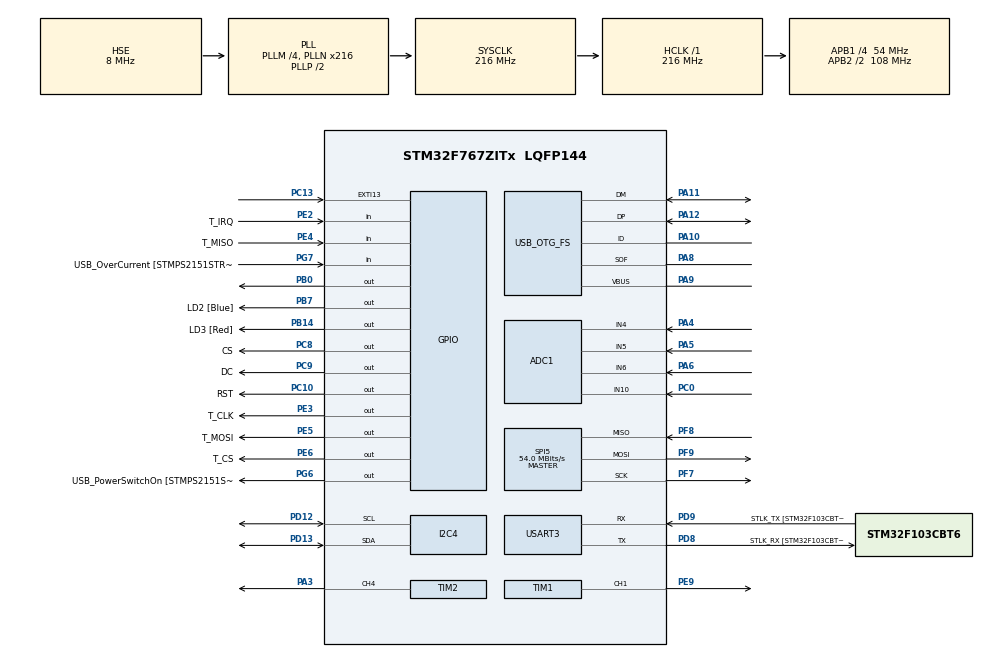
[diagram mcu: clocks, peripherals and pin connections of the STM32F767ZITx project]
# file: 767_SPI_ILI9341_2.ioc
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ADC1.Channel-0\#ChannelRegularConversion=ADC_CHANNEL_4
ADC1.Channel-1\#ChannelRegularConversion=ADC_CHANNEL_5
ADC1.Channel-2\#ChannelRegularConversion=ADC_CHANNEL_6
ADC1.Channel-3\#ChannelRegularConversion=ADC_CHANNEL_10
ADC1.ClockPrescaler=ADC_CLOCK_SYNC_PCLK_DIV8
ADC1.ContinuousConvMode=ENABLE
ADC1.DMAContinuousRequests=ENABLE
ADC1.EOCSelection=ADC_EOC_SEQ_CONV
ADC1.NbrOfConversion=4
ADC1.NbrOfConversionFlag=1
ADC1.Rank-0\#ChannelRegularConversion=1
ADC1.Rank-1\#ChannelRegularConversion=2
ADC1.Rank-2\#ChannelRegularConversion=3
ADC1.Rank-3\#ChannelRegularConversion=4
ADC1.SamplingTime-0\#ChannelRegularConversion=ADC_SAMPLETIME_15CYCLES
ADC1.SamplingTime-1\#ChannelRegularConversion=ADC_SAMPLETIME_15CYCLES
ADC1.SamplingTime-2\#ChannelRegularConversion=ADC_SAMPLETIME_15CYCLES
ADC1.SamplingTime-3\#ChannelRegularConversion=ADC_SAMPLETIME_15CYCLES
ADC1.master=1
CORTEX_M7.ART_ACCLERATOR_ENABLE=1
CORTEX_M7.CPU_DCache=Enabled
CORTEX_M7.CPU_ICache=Enabled
CORTEX_M7.PREFETCH_ENABLE=1
Dma.ADC1.1.Direction=DMA_PERIPH_TO_MEMORY
Dma.ADC1.1.FIFOMode=DMA_FIFOMODE_DISABLE
Dma.ADC1.1.Instance=DMA2_Stream0
Dma.ADC1.1.MemDataAlignment=DMA_MDATAALIGN_WORD
Dma.ADC1.1.MemInc=DMA_MINC_ENABLE
Dma.ADC1.1.Mode=DMA_CIRCULAR
Dma.ADC1.1.PeriphDataAlignment=DMA_PDATAALIGN_WORD
Dma.ADC1.1.PeriphInc=DMA_PINC_DISABLE
Dma.ADC1.1.Priority=DMA_PRIORITY_LOW
Dma.Request0=TIM1_CH1
Dma.Request1=ADC1
Dma.TIM1_CH1.0.Direction=DMA_MEMORY_TO_PERIPH
Dma.TIM1_CH1.0.FIFOMode=DMA_FIFOMODE_DISABLE
Dma.TIM1_CH1.0.Instance=DMA2_Stream1
Dma.TIM1_CH1.0.MemDataAlignment=DMA_MDATAALIGN_HALFWORD
Dma.TIM1_CH1.0.MemInc=DMA_MINC_ENABLE
Dma.TIM1_CH1.0.Mode=DMA_NORMAL
Dma.TIM1_CH1.0.PeriphDataAlignment=DMA_PDATAALIGN_HALFWORD
Dma.TIM1_CH1.0.PeriphInc=DMA_PINC_DISABLE
Dma.TIM1_CH1.0.Priority=DMA_PRIORITY_LOW
I2C4.Timing=0x20404768
Mcu.Family=STM32F7
Mcu.Name=STM32F767ZITx
Mcu.Package=LQFP144
NVIC.DMA2_Stream0_IRQn=true\:0\:0\:false\:false\:true\:false\:true\:true
NVIC.DMA2_Stream1_IRQn=true\:0\:0\:false\:false\:true\:false\:true\:true
NVIC.PriorityGroup=NVIC_PRIORITYGROUP_2
NVIC.TIM1_UP_TIM10_IRQn=true\:1\:0\:true\:false\:true\:true\:true\:true
NVIC.TIM4_IRQn=true\:1\:0\:true\:false\:true\:true\:true\:true
PA1.GPIO_Label=RMII_REF_CLK [LAN8742A-CZ-TR_REFCLK0]
PA1.Signal=ETH_REF_CLK
PA10.Mode=OTG/Dual_Role_Device
PA10.Signal=USB_OTG_FS_ID
PA11.Mode=OTG/Dual_Role_Device
PA11.Signal=USB_OTG_FS_DM
PA12.Mode=OTG/Dual_Role_Device
PA12.Signal=USB_OTG_FS_DP
PA13.GPIO_Label=TMS
PA13.Mode=Serial_Wire
PA13.Signal=SYS_JTMS-SWDIO
PA14.GPIO_Label=TCK
PA14.Mode=Serial_Wire
PA14.Signal=SYS_JTCK-SWCLK
PA2.GPIO_Label=RMII_MDIO [LAN8742A-CZ-TR_MDIO]
PA2.Signal=ETH_MDIO
PA3.GPIO_Speed=GPIO_SPEED_FREQ_VERY_HIGH
PA3.Signal=S_TIM2_CH4
PA4.Signal=ADCx_IN4
PA5.Signal=ADCx_IN5
PA6.Signal=ADCx_IN6
PA7.GPIO_Label=RMII_CRS_DV [LAN8742A-CZ-TR_CRS_DV]
PA7.Signal=ETH_CRS_DV
PA8.Mode=Activate_SOF_FS
PA8.Signal=USB_OTG_FS_SOF
PA9.Mode=Activate_VBUS
PA9.Signal=USB_OTG_FS_VBUS
PB0.Signal=GPIO_Output
PB13.GPIO_Label=RMII_TXD1 [LAN8742A-CZ-TR_TXD1]
PB13.Signal=ETH_TXD1
PB14.GPIO_Label=LD3 [Red]
PB14.Signal=GPIO_Output
PB3.GPIO_Label=SWO
PB3.Signal=SYS_JTDO-SWO
PB7.GPIO_Label=LD2 [Blue]
PB7.Signal=GPIO_Output
PC0.Signal=ADCx_IN10
PC1.GPIO_Label=RMII_MDC [LAN8742A-CZ-TR_MDC]
PC1.Signal=ETH_MDC
PC10.GPIO_Label=RST
PC10.GPIO_Speed=GPIO_SPEED_FREQ_VERY_HIGH
PC10.Signal=GPIO_Output
PC13.Signal=GPXTI13
PC14/OSC32_IN.Mode=LSE-External-Oscillator
PC14/OSC32_IN.Signal=RCC_OSC32_IN
PC15/OSC32_OUT.Mode=LSE-External-Oscillator
PC15/OSC32_OUT.Signal=RCC_OSC32_OUT
PC4.GPIO_Label=RMII_RXD0 [LAN8742A-CZ-TR_RXD0]
PC4.Signal=ETH_RXD0
PC5.GPIO_Label=RMII_RXD1 [LAN8742A-CZ-TR_RXD1]
PC5.Signal=ETH_RXD1
PC8.GPIO_Label=CS
PC8.GPIO_Speed=GPIO_SPEED_FREQ_VERY_HIGH
PC8.Signal=GPIO_Output
PC9.GPIO_Label=DC
PC9.GPIO_Speed=GPIO_SPEED_FREQ_VERY_HIGH
PC9.Signal=GPIO_Output
PD12.Mode=I2C
PD12.Signal=I2C4_SCL
PD13.Mode=I2C
PD13.Signal=I2C4_SDA
PD8.GPIO_Label=STLK_RX [STM32F103CBT6_PA3]
PD8.Mode=Asynchronous
PD8.Signal=USART3_TX
PD9.GPIO_Label=STLK_TX [STM32F103CBT6_PA2]
PD9.Mode=Asynchronous
PD9.Signal=USART3_RX
PE2.GPIO_Label=T_IRQ
PE2.Signal=GPIO_Input
PE3.GPIO_Label=T_CLK
PE3.GPIO_Speed=GPIO_SPEED_FREQ_VERY_HIGH
PE3.Signal=GPIO_Output
PE4.GPIO_Label=T_MISO
PE4.Signal=GPIO_Input
PE5.GPIO_Label=T_MOSI
PE5.GPIO_Speed=GPIO_SPEED_FREQ_VERY_HIGH
PE5.Signal=GPIO_Output
PE6.GPIO_Label=T_CS
PE6.GPIO_Speed=GPIO_SPEED_FREQ_VERY_HIGH
PE6.Signal=GPIO_Output
PE9.Signal=S_TIM1_CH1
PF7.Mode=Full_Duplex_Master
PF7.Signal=SPI5_SCK
PF8.Mode=Full_Duplex_Master
PF8.Signal=SPI5_MISO
PF9.Mode=Full_Duplex_Master
PF9.Signal=SPI5_MOSI
PG11.GPIO_Label=RMII_TX_EN [LAN8742A-CZ-TR_TXEN]
PG11.Signal=ETH_TX_EN
PG13.GPIO_Label=RMII_TXD0 [LAN8742A-CZ-TR_TXD0]
PG13.Signal=ETH_TXD0
PG6.GPIO_Label=USB_PowerSwitchOn [STMPS2151STR_EN]
PG6.Signal=GPIO_Output
PG7.GPIO_Label=USB_OverCurrent [STMPS2151STR_FAULT]
PG7.Signal=GPIO_Input
PH0/OSC_IN.GPIO_Label=MCO [STM32F103CBT6_PA8]
PH0/OSC_IN.Mode=HSE-External-Clock-Source
PH0/OSC_IN.Signal=RCC_OSC_IN
PH1/OSC_OUT.Mode=HSE-External-Clock-Source
PH1/OSC_OUT.Signal=RCC_OSC_OUT
ProjectManager.HeapSize=0x200
ProjectManager.StackSize=0x400
ProjectManager.TargetToolchain=STM32CubeIDE
RCC.48MHZClocksFreq_Value=24000000
RCC.AHBFreq_Value=216000000
RCC.APB1CLKDivider=RCC_HCLK_DIV4
RCC.APB1Freq_Value=54000000
RCC.APB1TimFreq_Value=108000000
RCC.APB2CLKDivider=RCC_HCLK_DIV2
RCC.APB2Freq_Value=108000000
RCC.APB2TimFreq_Value=216000000
RCC.CortexFreq_Value=216000000
RCC.HCLKFreq_Value=216000000
RCC.HSE_VALUE=8000000
RCC.HSI_VALUE=16000000
RCC.PLLM=4
RCC.PLLMUL=RCC_PLL_MUL9
RCC.PLLN=216
RCC.PLLQ=9
RCC.PRESCALERUSB=RCC_USBCLKSOURCE_PLL_DIV1_5
RCC.SYSCLKFreq_VALUE=216000000
RCC.SYSCLKSource=RCC_SYSCLKSOURCE_PLLCLK
RCC.SYSCLKSourceVirtual=RCC_SYSCLKSOURCE_PLLCLK
RCC.USBFreq_Value=48000000
RCC.VCOOutputFreq_Value=432000000
SH.ADCx_IN10.0=ADC1_IN10,IN10
SH.ADCx_IN4.0=ADC1_IN4,IN4
SH.ADCx_IN5.0=ADC1_IN5,IN5
SH.ADCx_IN6.0=ADC1_IN6,IN6
SH.S_TIM1_CH1.0=TIM1_CH1,PWM Generation1 CH1
SH.S_TIM2_CH4.0=TIM2_CH4,PWM Generation4 CH4
SPI5.CalculateBaudRate=54.0 MBits/s
SPI5.DataSize=SPI_DATASIZE_8BIT
SPI5.Direction=SPI_DIRECTION_2LINES
SPI5.Mode=SPI_MODE_MASTER
SPI5.NSSPMode=SPI_NSS_PULSE_DISABLE
SPI5.VirtualType=VM_MASTER
TIM1.Channel-PWM\ Generation1\ CH1=TIM_CHANNEL_1
TIM1.Period=216-1
TIM1.Prescaler=2-1
TIM2.Channel-PWM\ Generation4\ CH4=TIM_CHANNEL_4
TIM2.ClockDivision=TIM_CLOCKDIVISION_DIV1
TIM2.Period=1000-1
TIM2.Prescaler=108-1
TIM2.Pulse-PWM\ Generation4\ CH4=1000/4-1
TIM4.Period=1000-1
TIM4.Prescaler=108-1
USART3.VirtualMode-Asynchronous=VM_ASYNC
VP_RNG_VS_RNG.Mode=RNG_Activate
VP_TIM1_VS_ClockSourceINT.Mode=Internal
VP_TIM2_VS_ClockSourceINT.Mode=Internal
VP_TIM4_VS_ClockSourceINT.Mode=Internal
board=NUCLEO-F767ZI

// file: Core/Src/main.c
/* USER CODE BEGIN Header */
/**
 ******************************************************************************
 * @file           : main.c
 * @brief          : Main program body
 ******************************************************************************
 * @attention
 *
 * <h2><center>&copy; Copyright (c) 2021 STMicroelectronics.
 * All rights reserved.</center></h2>
 *
 * This software component is licensed by ST under BSD 3-Clause license,
 * the "License"; You may not use this file except in compliance with the
 * License. You may obtain a copy of the License at:
 *                        opensource.org/licenses/BSD-3-Clause
 *
 ******************************************************************************
 */
/* USER CODE END Header */
#include "main.h"
#include "adc.h"
#include "dma.h"
#include "i2c.h"
#include "rng.h"
#include "spi.h"
#include "tim.h"
#include "usart.h"
#include "usb_otg.h"
#include "gpio.h"

/* USER CODE BEGIN Includes */
#include "stdio.h"
#include "string.h"
#include "stm32f7xx_hal.h"
#include "am2320.h"
#include "ILI9341_Touchscreen.h"
#include "ILI9341_STM32_Driver.h"
#include "ILI9341_GFX.h"

#include <math.h>
#include <stdarg.h>
//#include "snow_tiger.h"

#include <toey_resize.h>

/* USER CODE END Includes */

/* USER CODE BEGIN PM */
#define print(x) HAL_UART_Transmit(&huart3, (uint8_t*)x, strlen(x),1000)
/* USER CODE END PM */

/* USER CODE BEGIN PV */
/* Private variables ---------------------------------------------------------*/
char ex[] = "\n\rBack";
char ex2[] = "\n\rEnter";
char ex3[] = "\n\rUp";
char ex4[] = "\n\rDown";
char ex5[] = "\n\rLeft";
char ex6[] = "\n\rRight";
int a = 0;
char x[100];
char ch1[1000];

// RGB variable
uint32_t count = 0;
int isLED[4];
int interval[4];

// rgb
int ispressed[8];
int intervalPreesed[8];

// Drum
volatile uint32_t adc_val[4];

uint32_t adc_hit[4];
uint32_t adcIntervalMillis[4];
uint32_t adcIntervalPrevios[4];

HAL_StatusTypeDef status;

UART_HandleTypeDef huart2;
/* USER CODE END PV */

void SystemClock_Config(void);
/* USER CODE BEGIN PFP */
/* Private function prototypes -----------------------------------------------*/
uint16_t CRC16_2(uint8_t*, uint8_t);
/* USER CODE END PFP */

/* USER CODE BEGIN 0 */
#define MAX_LED 35
#define USE_BRIGHTNESS 1

uint8_t datasentflag = 0;
uint8_t LED_Data[MAX_LED][4];
uint8_t LED_Mod[MAX_LED][4];

void Set_LED(int LEDnum, int Red, int Green, int Blue) {
	LED_Data[LEDnum][0] = LEDnum;
	LED_Data[LEDnum][1] = Green;
	LED_Data[LEDnum][2] = Red;
	LED_Data[LEDnum][3] = Blue;
}

#define PI 3.14159265

void Set_Brightness(int brightness)  // 0-45
{
#if USE_BRIGHTNESS

	if (brightness > 45)
		brightness = 45;
	for (int i = 0; i < MAX_LED; i++) {
		LED_Mod[i][0] = LED_Data[i][0];
		for (int j = 1; j < 4; j++) {
			float angle = 90 - brightness;  // in degrees
			angle = angle * PI / 180;  // in rad
			LED_Mod[i][j] = (LED_Data[i][j]) / (tan(angle));
		}
	}

#endif

}

uint16_t pwmData[(24 * MAX_LED) + 50];

void WS2812_Send(void) {
	uint32_t indx = 0;
	uint32_t color;

	for (int i = 0; i < MAX_LED; i++) {
#if USE_BRIGHTNESS
		color =
				((LED_Mod[i][1] << 16) | (LED_Mod[i][2] << 8) | (LED_Mod[i][3]));
#else
		color = ((LED_Data[i][1]<<16) | (LED_Data[i][2]<<8) | (LED_Data[i][3]));
#endif

		for (int i = 23; i >= 0; i--) {
			if (color & (1 << i)) {
				pwmData[indx] = 60;  // 2/3 of 90
			}

			else
				pwmData[indx] = 30;  // 1/3 of 90

			indx++;
		}

	}

	for (int i = 0; i < 50; i++) {
		pwmData[indx] = 0;
		indx++;
	}

	HAL_TIM_PWM_Start_DMA(&htim1, TIM_CHANNEL_1, (uint32_t*) pwmData, indx);
	while (!datasentflag) {
	};
	datasentflag = 0;
}
void HAL_TIM_PWM_PulseFinishedCallback(TIM_HandleTypeDef *htim) {
	HAL_TIM_PWM_Stop_DMA(&htim1, TIM_CHANNEL_1);
	datasentflag = 1;
}
/* USER CODE END 0 */

int main(void) {

	/* Enable I-Cache---------------------------------------------------------*/
	SCB_EnableICache();

	/* Enable D-Cache---------------------------------------------------------*/
	SCB_EnableDCache();

	/* MCU Configuration--------------------------------------------------------*/

	/* Reset of all peripherals, Initializes the Flash interface and the Systick. */
	HAL_Init();

	/* Configure the system clock */
	SystemClock_Config();

	/* Initialize all configured peripherals */
	MX_GPIO_Init();
	MX_DMA_Init();
	MX_SPI5_Init();
	MX_RNG_Init();
	MX_TIM2_Init();
	MX_I2C4_Init();
	MX_ADC1_Init();
	MX_TIM1_Init();
	MX_USART3_UART_Init();
	MX_TIM4_Init();
	MX_USB_OTG_FS_USB_Init();
	/* USER CODE BEGIN 2 */
	ILI9341_Init(); //initial driver setup to drive ili9341
	ILI9341_Set_Rotation(SCREEN_HORIZONTAL_1);
	ILI9341_Draw_Image((const char*) image_data_tot, SCREEN_VERTICAL_1);
	HAL_TIM_Base_Start_IT(&htim4);
	HAL_ADC_Start_DMA(&hadc1, (uint32_t*) adc_val, 4);

	/* USER CODE END 2 */

	/* Infinite loop */
	while (1) {

		/* USER CODE BEGIN 3 */

		// Part 1 RGB
		if (count >= 100) {
			if (isLED[0]) {
				interval[0]++;
			}
			if (isLED[1]) {
				interval[1]++;
			}
			if (isLED[2]) {
				interval[2]++;
			}
			if (isLED[3]) {
				interval[3]++;
			}
			count = 0;
		}

		//hit Upper Left

		if (adc_hit[0]) {
			isLED[0] = 1;
			for (int i = 0; i < 35; i++)
				Set_LED(i, 0, 0, 200);
			Set_Brightness(20);
			WS2812_Send();
		}

		if ((isLED[0] = 1) && (interval[0] >= 3)) {
			Set_Brightness(0);
			WS2812_Send();
			isLED[0] = 0;
			interval[0] = 0;
		}
		// hit center left
		if (adc_hit[1]) {
			isLED[1] = 1;
			for (int i = 0; i < 35; i++)
				Set_LED(i, 255, 0, 0);
			Set_Brightness(20);
			WS2812_Send();
		}

		if ((isLED[1] = 1) && (interval[1] >= 3)) {
			Set_Brightness(0);
			WS2812_Send();
			isLED[1] = 0;
			interval[1] = 0;
		}

		//hit center right
		if (adc_hit[2]) {
			isLED[2] = 1;
			for (int i = 0; i < 35; i++)
				Set_LED(i, 255, 0, 0);
			Set_Brightness(20);
			WS2812_Send();
		}

		if ((isLED[2] = 1) && (interval[2] >= 3)) {
			Set_Brightness(0);
			WS2812_Send();
			isLED[2] = 0;
			interval[2] = 0;
		}

		// Hit Upper right
		if (adc_hit[3]) {
			isLED[3] = 1;
			for (int i = 0; i < 35; i++)
				Set_LED(i, 0, 0, 200);
			Set_Brightness(20);
			WS2812_Send();
		}

		if ((isLED[3] = 1) && (interval[3] >= 3)) {
			Set_Brightness(0);
			WS2812_Send();
			isLED[3] = 0;
			interval[3] = 0;
		}

		// Part 2 Drum
//		char buffer[100];
//		sprintf(buffer, "%d %d %d %d\n\r", adc_val[0], adc_val[1], adc_val[2],
//				adc_val[3]);
//		print(buffer);

		adcIntervalMillis[0] = HAL_GetTick();
		adcIntervalMillis[1] = HAL_GetTick();
		adcIntervalMillis[2] = HAL_GetTick();
		adcIntervalMillis[3] = HAL_GetTick();
		if (adc_val[0] >= 2800 && adc_hit[0] == 0) {
			adc_hit[0] = 1;

		}
		else if (adc_val[1] >= 1000 && adc_hit[1] == 0) {
			adc_hit[1] = 1;

		}
		else if (adc_val[2] >= 2000 && adc_hit[2] == 0) {
			adc_hit[2] = 1;

		}
		else if (adc_val[3] >= 2000 && adc_hit[3] == 0) {
			adc_hit[3] = 1;

		}

		if (adc_hit[0] == 1
				&& (adcIntervalMillis[0] - adcIntervalPrevios[0] > ((40)+(a*1000)))) {
			print("D");
			adc_hit[0] = 0;
			adcIntervalPrevios[0] = adcIntervalMillis[0];
		}

		if (adc_hit[1] == 1
				&& (adcIntervalMillis[1] - adcIntervalPrevios[1] > ((40)+(a*1000)))) {
			print("F");
			adc_hit[1] = 0;
			adcIntervalPrevios[1] = adcIntervalMillis[1];
		}

		if (adc_hit[2] == 1
				&& (adcIntervalMillis[2] - adcIntervalPrevios[2] > ((40)+(a*1000)))) {
			print("J");
			adc_hit[2] = 0;
			adcIntervalPrevios[2] = adcIntervalMillis[2];
		}

		if (adc_hit[3] == 1
				&& (adcIntervalMillis[3] - adcIntervalPrevios[3] > ((40)+(a*1000)))) {
			print("K");
			adc_hit[3] = 0;
			adcIntervalPrevios[3] = adcIntervalMillis[3];
		}

		// Part3 LCD
		ILI9341_Set_Rotation(SCREEN_HORIZONTAL_1);
		sprintf(x, "%2d", a);
		ILI9341_Draw_Text(x, 145, 11, BLACK, 2, WHITE);
		//		HAL_Delay(1000);

		if (TP_Touchpad_Pressed()) {
			uint16_t position_array[2];
			uint16_t x_pos = 0;
			uint16_t y_pos = 0;

			if (TP_Read_Coordinates(position_array) == TOUCHPAD_DATA_OK) {
				x_pos = position_array[0];
				y_pos = position_array[1];
				if ((x_pos >= 177 && x_pos <= 210)
						&& (y_pos >= 8 && y_pos <= 98)) //check back
						{
					ispressed[6] = 1;
				} else if ((x_pos >= 180 && x_pos <= 210)
						&& (y_pos >= 228 && y_pos <= 316)) //check enter
						{
					ispressed[7] = 1;
				}

				else if ((x_pos >= 206 && x_pos <= 240)
						&& (y_pos >= 105 && y_pos <= 138)) //dpi-
						{
					ispressed[0] = 1;
				}

				else if ((x_pos >= 208 && x_pos <= 236)
						&& (y_pos >= 182 && y_pos <= 215)) //dpi+
						{
					ispressed[1] = 1;

				}

				else if ((x_pos >= 135 && x_pos <= 196)
						&& (y_pos >= 129 && y_pos <= 189)) //check up
						{
					ispressed[2] = 1;
				}

				else if ((x_pos >= 8 && x_pos <= 71)
						&& (y_pos >= 128 && y_pos <= 191)) //check down
						{
					ispressed[3] = 1;
				}

				else if ((x_pos >= 74 && x_pos <= 136)
						&& (y_pos >= 59 && y_pos <= 120)) //check left
						{
					ispressed[4] = 1;
				}

				else if ((x_pos >= 76 && x_pos <= 135)
						&& (y_pos >= 205 && y_pos <= 265)) //check right
						{
					ispressed[5] = 1;
				}
//					ILI9341_Set_Rotation(SCREEN_HORIZONTAL_1);
//					char counter_buff[30];
//					sprintf(counter_buff, "POS X: %.3d  ", x_pos);
//					ILI9341_Draw_Text(counter_buff, 100, 220, BLACK, 1, WHITE);
//					sprintf(counter_buff, "POS Y: %.3d", y_pos);
//					ILI9341_Draw_Text(counter_buff, 160, 220, BLACK, 1, WHITE);
			}
		}

		//timer!!!
		//check back
		if (ispressed[6]) {
			intervalPreesed[6] += count;
			count = 0;
		}

		if (intervalPreesed[6] >= 500) {
			while (__HAL_UART_GET_FLAG(&huart3,UART_FLAG_TC) == RESET) {
			}
//			HAL_UART_Transmit(&huart3, (uint8_t*) ex, strlen(ex), 1000);
			print("B");
			intervalPreesed[6] = 0;
			ispressed[6] = 0;
		}
		//check enter
		if (ispressed[7]) {
			intervalPreesed[7] += count;
			count = 0;
		}

		if (intervalPreesed[7] >= 500) {
			while (__HAL_UART_GET_FLAG(&huart3,UART_FLAG_TC) == RESET) {
			}
//			HAL_UART_Transmit(&huart3, (uint8_t*) ex2, strlen(ex2), 1000);
			print("E");
			intervalPreesed[7] = 0;
			ispressed[7] = 0;
		}

		//dpi-
		if (ispressed[0]) {
			intervalPreesed[0] += count;
			count = 0;
		}
		if (intervalPreesed[0] >= 500) {
			if (a >= 1) {
				a = a - 1;
				sprintf(x, "%2d ", a);
			}
			if (a <= 0) {
				a = 0;
				sprintf(x, "%2d ", a);
			}
			intervalPreesed[0] = 0;
			ispressed[0] = 0;
		}
		//dpi+
		if (ispressed[1]) {
			intervalPreesed[1] += count;
			count = 0;
		}

		if (intervalPreesed[1] >= 500) {
			if (a < 10) {
				a = a + 1;
				sprintf(x, "%2d ", a);
			}
			if (a > 10) {
				a = 10;
				sprintf(x, "%2d ", a);
			}
			intervalPreesed[1] = 0;
			ispressed[1] = 0;
		}
		//check up
		if (ispressed[2]) {
			intervalPreesed[2] += count;
			count = 0;
		}

		if (intervalPreesed[2] >= 500) {
			while (__HAL_UART_GET_FLAG(&huart3,UART_FLAG_TC) == RESET) {
			}
//			HAL_UART_Transmit(&huart3, (uint8_t*) ex3, strlen(ex3), 1000);
			print("U");
			intervalPreesed[2] = 0;
			ispressed[2] = 0;
		}

		////check down
		if (ispressed[3]) {
			intervalPreesed[3] += count;
			count = 0;
		}

		if (intervalPreesed[3] >= 500) {
			while (__HAL_UART_GET_FLAG(&huart3,UART_FLAG_TC) == RESET) {
			}
//			HAL_UART_Transmit(&huart3, (uint8_t*) ex4, strlen(ex4), 1000);
			print("O");
			intervalPreesed[3] = 0;
			ispressed[3] = 0;
		}
		//check left
		if (ispressed[4]) {
			intervalPreesed[4] += count;
			count = 0;
		}

		if (intervalPreesed[4] >= 500) {
			while (__HAL_UART_GET_FLAG(&huart3,UART_FLAG_TC) == RESET) {
			}
//			HAL_UART_Transmit(&huart3, (uint8_t*) ex5, strlen(ex5), 1000);
			print("L");
			intervalPreesed[4] = 0;
			ispressed[4] = 0;
		}
		//check right
		if (ispressed[5]) {
			intervalPreesed[5] += count;
			count = 0;
		}

		if (intervalPreesed[5] >= 500) {
			while (__HAL_UART_GET_FLAG(&huart3,UART_FLAG_TC) == RESET) {
			}
//			HAL_UART_Transmit(&huart3, (uint8_t*) ex6, strlen(ex6), 1000);
			print("R");
			intervalPreesed[5] = 0;
			ispressed[5] = 0;
		}

	}
	/* USER CODE END 3 */
}

void SystemClock_Config(void) {
	RCC_OscInitTypeDef RCC_OscInitStruct = { 0 };
	RCC_ClkInitTypeDef RCC_ClkInitStruct = { 0 };

	/** Configure LSE Drive Capability
	 */
	HAL_PWR_EnableBkUpAccess();

	/** Configure the main internal regulator output voltage
	 */
	__HAL_RCC_PWR_CLK_ENABLE();
	__HAL_PWR_VOLTAGESCALING_CONFIG(PWR_REGULATOR_VOLTAGE_SCALE1);

	/** Initializes the RCC Oscillators according to the specified parameters
	 * in the RCC_OscInitTypeDef structure.
	 */
	RCC_OscInitStruct.OscillatorType = RCC_OSCILLATORTYPE_HSE;
	RCC_OscInitStruct.HSEState = RCC_HSE_BYPASS;
	RCC_OscInitStruct.PLL.PLLState = RCC_PLL_ON;
	RCC_OscInitStruct.PLL.PLLSource = RCC_PLLSOURCE_HSE;
	RCC_OscInitStruct.PLL.PLLM = 4;
	RCC_OscInitStruct.PLL.PLLN = 216;
	RCC_OscInitStruct.PLL.PLLP = RCC_PLLP_DIV2;
	RCC_OscInitStruct.PLL.PLLQ = 9;
	RCC_OscInitStruct.PLL.PLLR = 2;
	if (HAL_RCC_OscConfig(&RCC_OscInitStruct) != HAL_OK) {
		Error_Handler();
	}

	/** Activate the Over-Drive mode
	 */
	if (HAL_PWREx_EnableOverDrive() != HAL_OK) {
		Error_Handler();
	}

	/** Initializes the CPU, AHB and APB buses clocks
	 */
	RCC_ClkInitStruct.ClockType = RCC_CLOCKTYPE_HCLK | RCC_CLOCKTYPE_SYSCLK
			| RCC_CLOCKTYPE_PCLK1 | RCC_CLOCKTYPE_PCLK2;
	RCC_ClkInitStruct.SYSCLKSource = RCC_SYSCLKSOURCE_PLLCLK;
	RCC_ClkInitStruct.AHBCLKDivider = RCC_SYSCLK_DIV1;
	RCC_ClkInitStruct.APB1CLKDivider = RCC_HCLK_DIV4;
	RCC_ClkInitStruct.APB2CLKDivider = RCC_HCLK_DIV2;

	if (HAL_RCC_ClockConfig(&RCC_ClkInitStruct, FLASH_LATENCY_7) != HAL_OK) {
		Error_Handler();
	}
}

void Error_Handler(void) {
	while (1) {
	}
}
